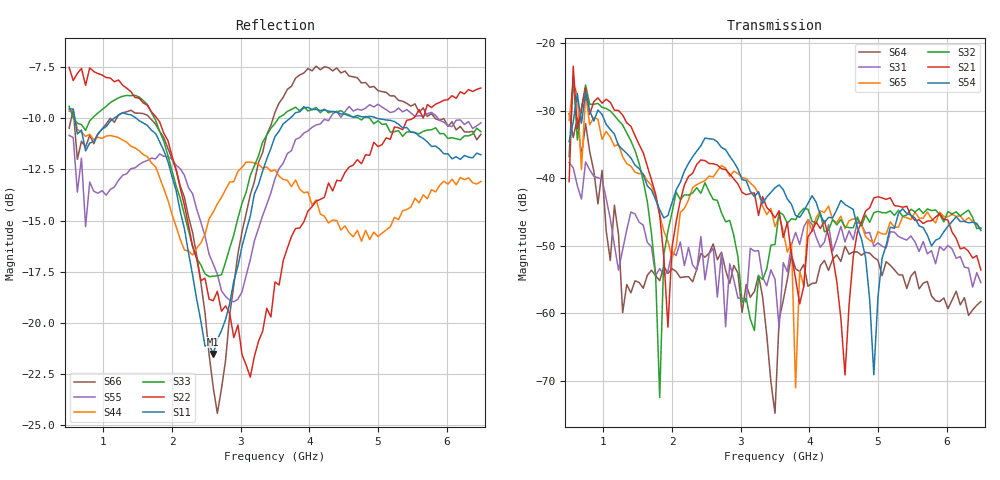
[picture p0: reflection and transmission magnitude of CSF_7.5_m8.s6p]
!Keysight Technologies,M9804A,MY58100912,A.14.10.03
!Date: Thursday, April 27, 2023 10:28:33
!Correction: S11(C  6-Port  )
!S12(C  6-Port  )
!S13(C  6-Port  )
!S14(C  6-Port  )
!S15(C  6-Port  )
!S16(C  6-Port  )
!S21(C  6-Port  )
!S22(C  6-Port  )
!S23(C  6-Port  )
!S24(C  6-Port  )
!S25(C  6-Port  )
!S26(C  6-Port  )
!S31(C  6-Port  )
!S32(C  6-Port  )
!S33(C  6-Port  )
!S34(C  6-Port  )
!S35(C  6-Port  )
!S36(C  6-Port  )
!S41(C  6-Port  )
!S42(C  6-Port  )
!S43(C  6-Port  )
!S44(C  6-Port  )
!S45(C  6-Port  )
!S46(C  6-Port  )
!S51(C  6-Port  )
!S52(C  6-Port  )
!S53(C  6-Port  )
!S54(C  6-Port  )
!S55(C  6-Port  )
!S56(C  6-Port  )
!S61(C  6-Port  )
!S62(C  6-Port  )
!S63(C  6-Port  )
!S64(C  6-Port  )
!S65(C  6-Port  )
!S66(C  6-Port  )
!S6P File: Measurement: :
# Hz S  RI  R 50
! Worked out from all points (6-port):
!   101 points, 500 MHz to 6.5 GHz, reference 50 ohm
!   strongest paths, dB at 500 MHz, 2 GHz, 3.5 GHz, 5 GHz, 6.5 GHz:
!     S54: -34.6, -43.6, -41.4, -57.6, -47.7
!     S21: -40.5, -50.2, -45.9, -42.7, -53.6
!     S32: -36.8, -45.1, -49.8, -44.9, -47.4
!     S65: -31.4, -51.8, -47.2, -47.9, -47.5
!     S31: -37.7, -50.9, -55.0, -49.6, -55.5
!     S64: -30.4, -53.4, -74.8, -52.1, -58.3
!   lowest |S11| = -21.5 dB at 2.6 GHz (marker M1), VSWR 1.18, Z = 42.5 + j1.93 ohm
!   |S11| at or under -10 dB: 582.4 MHz to 1.153 GHz (571 MHz wide, 65.8 % of centre); 1.478 GHz to 3.719 GHz (2.24 GHz wide, 86.2 % of centre); 4.987 GHz to end of sweep
